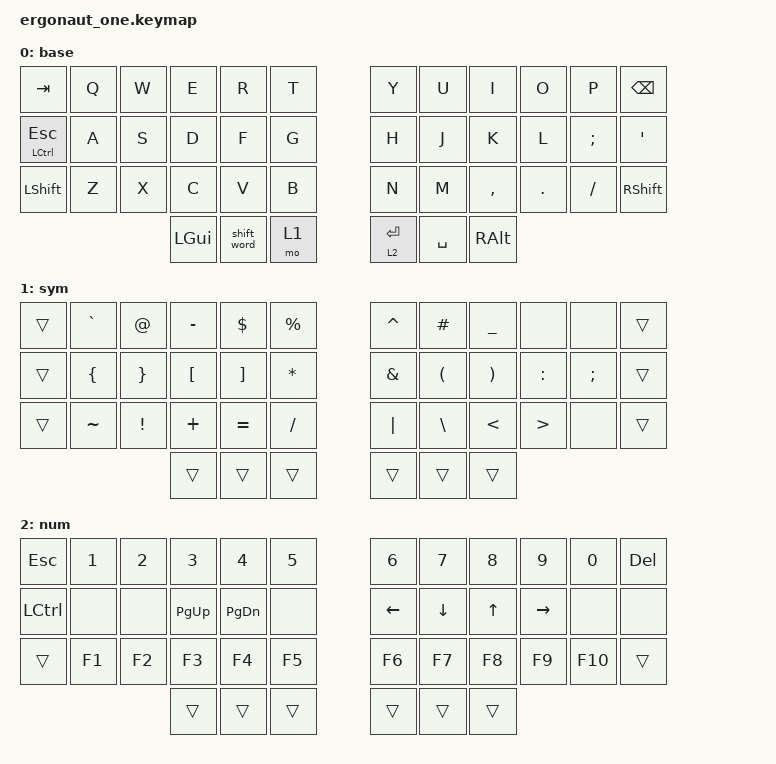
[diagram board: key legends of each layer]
#include <behaviors.dtsi>
#include <dt-bindings/zmk/keys.h>

&lt { tapping-term-ms = <150>; };

/ {
    combos {
        compatible = "zmk,combos";

        space_hold {
            bindings = <&kp SPACE>;
            key-positions = <24 37>;
            layers = <0>;
        };

        l_cmd {
            bindings = <&kp LGUI>;
            key-positions = <16 15>;
            require-prior-idle-ms = <50>;
        };

        l_opt {
            bindings = <&kp LALT>;
            key-positions = <15 14>;
            require-prior-idle-ms = <50>;
        };

        l_cmd_opt {
            bindings = <&kp LA(LGUI)>;
            key-positions = <14 15 16>;
            require-prior-idle-ms = <50>;
        };

        r_cmd {
            bindings = <&kp RGUI>;
            key-positions = <19 20>;
            require-prior-idle-ms = <50>;
        };

        r_opt {
            bindings = <&kp RALT>;
            key-positions = <20 21>;
            require-prior-idle-ms = <50>;
        };

        r_cmd_opt {
            bindings = <&kp RA(RGUI)>;
            key-positions = <19 20 21>;
            require-prior-idle-ms = <50>;
        };

        l_boot {
            bindings = <&u_bootloader>;
            key-positions = <36 37>;
            layers = <1>;
        };

        r_boot {
            bindings = <&u_bootloader>;
            key-positions = <41 40>;
            layers = <2>;
        };
    };

    behaviors {
        u_bootloader: u_bootloader {
            compatible = "zmk,behavior-tap-dance";
            label = "U_BOOTLOADER";
            #binding-cells = <0>;
            bindings = <&none>, <&bootloader>;
        };

        shift_word: shift_word {
            compatible = "zmk,behavior-tap-dance";
            label = "SHIFT_WORD";
            #binding-cells = <0>;
            bindings = <&kp LSHFT>, <&caps_word>;
        };
    };

    keymap {
        compatible = "zmk,keymap";

        base_layer {
            display-name = "base";
            bindings = <
&kp TAB        &kp Q  &kp W  &kp E     &kp R        &kp T  &kp Y      &kp U      &kp I      &kp O    &kp P     &kp BSPC
&mt LCTRL ESC  &kp A  &kp S  &kp D     &kp F        &kp G  &kp H      &kp J      &kp K      &kp L    &kp SEMI  &kp SQT
&kp LSHFT      &kp Z  &kp X  &kp C     &kp V        &kp B  &kp N      &kp M      &kp COMMA  &kp DOT  &kp FSLH  &kp RSHFT
                             &kp LGUI  &shift_word  &mo 1  &lt 2 RET  &kp SPACE  &kp RALT
            >;
        };

        sym_layer {
            display-name = "sym";
            bindings = <
&trans  &kp GRAVE  &kp AT    &kp MINUS  &kp DLLR   &kp PRCNT  &kp CARET  &kp HASH  &kp UNDER  &none      &none     &trans
&trans  &kp LBRC   &kp RBRC  &kp LBKT   &kp RBKT   &kp STAR   &kp AMPS   &kp LPAR  &kp RPAR   &kp COLON  &kp SEMI  &trans
&trans  &kp TILDE  &kp EXCL  &kp PLUS   &kp EQUAL  &kp FSLH   &kp PIPE   &kp BSLH  &kp LT     &kp GT     &none     &trans
                             &trans     &trans     &trans     &trans     &trans    &trans
            >;
        };

        num_layer {
            display-name = "num";
            bindings = <
&kp ESC    &kp N1  &kp N2  &kp N3     &kp N4     &kp N5  &kp N6    &kp N7    &kp N8  &kp N9     &kp N0   &kp DEL
&kp LCTRL  &none   &none   &kp PG_UP  &kp PG_DN  &none   &kp LEFT  &kp DOWN  &kp UP  &kp RIGHT  &none    &none
&trans     &kp F1  &kp F2  &kp F3     &kp F4     &kp F5  &kp F6    &kp F7    &kp F8  &kp F9     &kp F10  &trans
                           &trans     &trans     &trans  &trans    &trans    &trans
            >;
        };
    };
};
